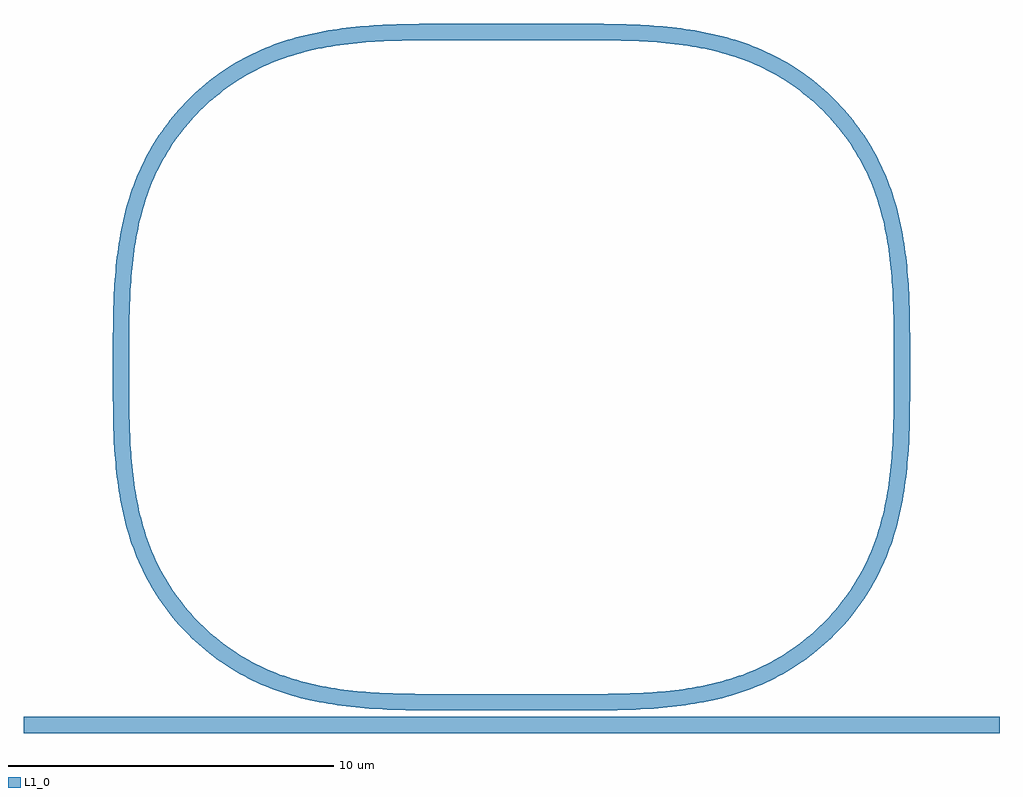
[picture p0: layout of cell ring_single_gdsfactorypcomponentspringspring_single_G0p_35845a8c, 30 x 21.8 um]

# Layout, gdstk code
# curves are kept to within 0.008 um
from math import pi, radians
import gdstk
lib = gdstk.Library(unit=1e-6, precision=1e-09)
def R(c, l, rs):  # rectangles x0, y0, x1, y1
    for r in rs: c.add(gdstk.rectangle(r[:2], r[2:], *l))
def P(c, l, *ps):  # polygons
    for p in ps: c.add(gdstk.Polygon(p, *l))
L1_0 = (1, 0)

coupler_ring_gdsfactoryp = lib.new_cell('coupler_ring_gdsfactorypcomponentspcouplerspcoupler_rin_cc478902')
R(coupler_ring_gdsfactoryp, L1_0, [(-17,-0.25,13,0.25)])
P(coupler_ring_gdsfactoryp, L1_0, [(-4.416,0.45),(-5.812,0.475),(-6.373,0.506),(-6.935,0.556),(-7.356,0.609),(-7.915,0.703),(-8.332,0.793),(-8.883,0.944),(-9.423,1.133),(-9.819,1.302),(-10.205,1.494),(-10.579,1.708),(-11.056,2.027),(-11.397,2.29),(-11.721,2.573),(-12.029,2.874),(-12.318,3.193),(-12.588,3.529),(-12.916,4),(-13.137,4.369),(-13.337,4.751),(-13.567,5.277),(-13.712,5.681),(-13.836,6.091),(-13.939,6.506),(-14.048,7.064),(-14.128,7.625),(-14.171,8.046),(-14.219,8.747),(-14.235,9.168),(-14.25,10.7),(-13.75,10.7),(-13.731,9.045),(-13.695,8.362),(-13.647,7.819),(-13.576,7.28),(-13.48,6.748),(-13.353,6.223),(-13.194,5.71),(-13.051,5.335),(-12.887,4.969),(-12.701,4.613),(-12.495,4.269),(-12.269,3.938),(-12.024,3.621),(-11.575,3.125),(-11.182,2.762),(-10.869,2.511),(-10.543,2.278),(-10.203,2.065),(-9.851,1.873),(-9.488,1.701),(-9.116,1.551),(-8.735,1.422),(-8.346,1.312),(-7.952,1.22),(-7.42,1.124),(-6.881,1.053),(-6.338,1.005),(-5.655,0.969),(-4.415,0.95),(1.243,0.958),(2.202,0.996),(3.016,1.069),(3.553,1.146),(4.084,1.249),(4.606,1.383),(4.99,1.506),(5.365,1.649),(5.731,1.813),(6.203,2.065),(6.543,2.278),(6.869,2.511),(7.283,2.85),(7.575,3.125),(7.938,3.518),(8.269,3.938),(8.495,4.269),(8.765,4.731),(8.999,5.212),(9.194,5.71),(9.353,6.223),(9.48,6.748),(9.596,7.415),(9.661,7.954),(9.719,8.772),(9.742,9.457),(9.75,10.7),(10.25,10.7),(10.248,9.866),(10.225,8.888),(10.194,8.327),(10.128,7.625),(10.048,7.064),(9.939,6.506),(9.797,5.954),(9.618,5.411),(9.398,4.881),(9.137,4.369),(8.837,3.88),(8.5,3.415),(8.224,3.085),(7.826,2.671),(7.397,2.29),(6.939,1.944),(6.579,1.708),(6.078,1.427),(5.688,1.243),(5.289,1.082),(4.883,0.944),(4.332,0.793),(3.776,0.677),(3.216,0.59),(2.373,0.506),(1.253,0.458)])

bend_euler_gdsfactorypco = lib.new_cell('bend_euler_gdsfactorypcomponentspbendspbend_euler_R10_A_a86bc407')
P(bend_euler_gdsfactorypco, L1_0, [(0,-0.25),(0,0.25),(1.655,0.269),(2.338,0.305),(2.881,0.353),(3.42,0.424),(3.952,0.52),(4.477,0.647),(4.99,0.806),(5.365,0.949),(5.731,1.113),(6.087,1.299),(6.431,1.505),(6.762,1.731),(7.079,1.976),(7.575,2.425),(8.024,2.921),(8.269,3.238),(8.495,3.569),(8.701,3.913),(8.887,4.269),(9.051,4.635),(9.194,5.01),(9.353,5.523),(9.48,6.048),(9.576,6.58),(9.647,7.119),(9.695,7.662),(9.731,8.345),(9.75,10),(10.25,10),(10.235,8.468),(10.203,7.767),(10.158,7.205),(10.091,6.644),(10.023,6.224),(9.907,5.668),(9.797,5.254),(9.618,4.711),(9.457,4.312),(9.273,3.922),(9.066,3.545),(8.756,3.061),(8.5,2.715),(8.224,2.385),(7.928,2.072),(7.615,1.776),(7.285,1.5),(6.939,1.244),(6.455,0.934),(6.078,0.727),(5.688,0.543),(5.289,0.382),(4.746,0.203),(4.332,0.093),(3.776,-0.023),(3.356,-0.091),(2.795,-0.158),(2.233,-0.203),(1.532,-0.235)])

straight_gdsfactorypcomp = lib.new_cell('straight_gdsfactorypcomponentspwaveguidespstraight_L4_N_a6eac62c')
R(straight_gdsfactorypcomp, L1_0, [(0,-0.25,4,0.25)])

c_straight_gdsfactorypcomp = lib.new_cell('straight_gdsfactorypcomponentspwaveguidespstraight_L0p6_058e2168')
R(c_straight_gdsfactorypcomp, L1_0, [(0,-0.25,0.6,0.25)])

ring_single_gdsfactorypc = lib.new_cell('ring_single_gdsfactorypcomponentspringspring_single_G0p_35845a8c')
ring_single_gdsfactorypc.add(gdstk.Reference(coupler_ring_gdsfactoryp, (0,0)))
ring_single_gdsfactorypc.add(gdstk.Reference(bend_euler_gdsfactorypco, (-4,21.3), rotation=pi))
ring_single_gdsfactorypc.add(gdstk.Reference(bend_euler_gdsfactorypco, (10,11.3), rotation=pi/2))
ring_single_gdsfactorypc.add(gdstk.Reference(straight_gdsfactorypcomp, (0,21.3), rotation=pi))
ring_single_gdsfactorypc.add(gdstk.Reference(c_straight_gdsfactorypcomp, (-14,10.7), rotation=pi/2))
ring_single_gdsfactorypc.add(gdstk.Reference(c_straight_gdsfactorypcomp, (10,11.3), rotation=3*pi/2))

lib.write_gds('ring_single_gdsfactorypcomponentspringspring_single_G0p_35845a8c.gds')
